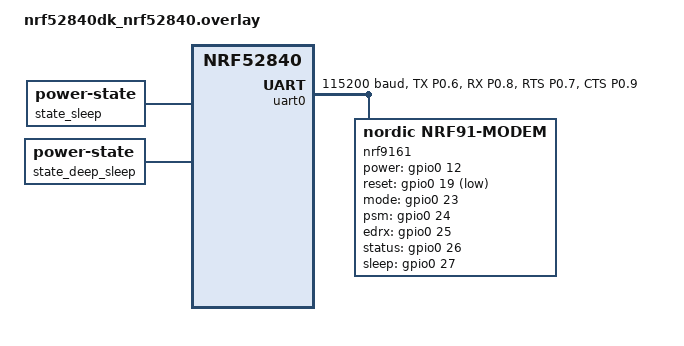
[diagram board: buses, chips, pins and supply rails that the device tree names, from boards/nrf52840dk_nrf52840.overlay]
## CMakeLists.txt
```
# Copyright (c) 2023 Nordic Semiconductor ASA
# SPDX-License-Identifier: Apache-2.0

cmake_minimum_required(VERSION 3.20.0)

# Find Zephyr and nRF Connect SDK
find_package(Zephyr REQUIRED HINTS $ENV{ZEPHYR_BASE})
include(${ZEPHYR_BASE}/cmake/app/boilerplate.cmake NO_POLICY_SCOPE)

# Set project name and version
project(beep_base)

# Add nRF Connect SDK modules
include(${ZEPHYR_BASE}/../nrf/cmake/modules.cmake)

# nRF Libraries
add_subdirectory(${ZEPHYR_BASE}/../nrf/lib/nrf_modem_lib)
add_subdirectory(${ZEPHYR_BASE}/../nrf/lib/at_monitor)
add_subdirectory(${ZEPHYR_BASE}/../nrf/lib/at_cmd_parser)
add_subdirectory(${ZEPHYR_BASE}/../nrf/lib/lte_link_control)
add_subdirectory(${ZEPHYR_BASE}/../nrf/lib/modem_info)
add_subdirectory(${ZEPHYR_BASE}/../nrf/lib/modem_key_mgmt)

# Add custom drivers
add_subdirectory(drivers)

# Application source files
target_sources(app PRIVATE
    src/main.c
    src/audio_app.c
    src/alarm_app.c
    src/ble_app.c
    src/cellular_app.c
    src/comm_mgr.c
    src/debug.c
    src/flash_fs.c
    src/lorawan_app.c
    src/power_mgmt.c
    src/rtc_app.c
)

# Include directories
target_include_directories(app PRIVATE
    src
    drivers/flash
    drivers/rtc
    drivers/sensor/tlv320adc3100
    drivers/sensor/bme280
    drivers/sensor/ds18b20
    drivers/sensor/hx711
    drivers/w1
    ${ZEPHYR_BASE}/../nrf/include
    ${ZEPHYR_BASE}/../nrf/subsys/net/lib/nrf_modem_lib/include
    ${ZEPHYR_BASE}/../nrf/lib/lte_link_control
    ${ZEPHYR_BASE}/../nrf/lib/at_monitor
    ${ZEPHYR_BASE}/../nrf/lib/at_cmd_parser
    ${ZEPHYR_BASE}/../nrf/lib/modem_info
    ${ZEPHYR_BASE}/../nrf/lib/modem_key_mgmt
)

# Link nRF libraries
target_link_libraries(app PRIVATE
    nrf_modem_lib
    at_monitor
    at_cmd_parser
    lte_link_control
    modem_info
    modem_key_mgmt
)

# Generate version information
execute_process(
    COMMAND git describe --tags --long --dirty
    OUTPUT_VARIABLE GIT_VERSION
    OUTPUT_STRIP_TRAILING_WHITESPACE
    ERROR_QUIET
)

if(NOT GIT_VERSION)
    set(GIT_VERSION "unknown")
endif()

target_compile_definitions(app PRIVATE
    -DAPP_VERSION="${GIT_VERSION}"
    -DAPP_BUILD_DATE="${CMAKE_CURRENT_BINARY_DIR}/build_date.h"
    -DCONFIG_NRF_MODEM_LIB=1
    -DCONFIG_LTE_LINK_CONTROL=1
    -DCONFIG_AT_MONITOR=1
    -DCONFIG_MODEM_INFO=1
)

# Generate build date header
string(TIMESTAMP BUILD_DATE "%Y-%m-%d %H:%M:%S")
configure_file(
    ${CMAKE_CURRENT_SOURCE_DIR}/build_date.h.in
    ${CMAKE_CURRENT_BINARY_DIR}/build_date.h
    @ONLY
)

# Add drivers subdirectory CMakeLists.txt
file(WRITE ${CMAKE_CURRENT_SOURCE_DIR}/drivers/CMakeLists.txt
"# Copyright (c) 2023 Nordic Semiconductor ASA
# SPDX-License-Identifier: Apache-2.0

add_subdirectory_ifdef(CONFIG_W1 w1)
add_subdirectory_ifdef(CONFIG_TLV320ADC3100 sensor/tlv320adc3100)
add_subdirectory_ifdef(CONFIG_BME280 sensor/bme280)
add_subdirectory_ifdef(CONFIG_DS18B20 sensor/ds18b20)
add_subdirectory_ifdef(CONFIG_HX711 sensor/hx711)
add_subdirectory_ifdef(CONFIG_DS3231_RTC rtc)
add_subdirectory_ifdef(CONFIG_MX25_FLASH flash)
")

# Create build date template
file(WRITE ${CMAKE_CURRENT_SOURCE_DIR}/build_date.h.in
"#ifndef BUILD_DATE_H
#define BUILD_DATE_H

#define BUILD_DATE \"@BUILD_DATE@\"

#endif /* BUILD_DATE_H */
")

# Set required compile options for nRF libraries
target_compile_options(app PRIVATE
    -DCONFIG_NRF_MODEM_LIB_TRACE=1
    -DCONFIG_NRF_MODEM_LIB_SHMEM_TRACE=1
    -DCONFIG_NRF_MODEM_LIB_DEBUG=1
    -DCONFIG_AT_CMD_LOG_LEVEL=4
    -DCONFIG_AT_NOTIF_LOG_LEVEL=4
)

# Set linker options for nRF libraries
target_link_options(app PRIVATE
    -Wl,--whole-archive
    -l:libnrf_modem_lib.a
    -Wl,--no-whole-archive
)

# Add custom targets for nRF tools
add_custom_target(flash_modem
    COMMAND ${ZEPHYR_BASE}/../nrf/scripts/nrf_modem_flash.sh
    WORKING_DIRECTORY ${CMAKE_CURRENT_BINARY_DIR}
    COMMENT "Flashing modem firmware..."
)

add_custom_target(flash_all
    COMMAND west flash
    COMMAND ${CMAKE_MAKE_PROGRAM} flash_modem
    COMMENT "Flashing application and modem firmware..."
)
```

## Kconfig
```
# Cellular Application Configuration

menuconfig CELLULAR_APP
    bool "Cellular Application Support"
    default y
    select NRF_MODEM_LIB
    select LTE_LINK_CONTROL
    help
        Enable cellular application support with nRF9161 modem

if CELLULAR_APP

config CELLULAR_PSM_ENABLE
    bool "Enable Power Saving Mode (PSM)"
    default y
    help
        Enable PSM for power optimization

config CELLULAR_PSM_TAU_SEC
    int "PSM TAU interval in seconds"
    default 43200
    depends on CELLULAR_PSM_ENABLE
    help
        Tracking Area Update interval for PSM

config CELLULAR_PSM_ACTIVE_SEC
    int "PSM active time in seconds"
    default 60
    depends on CELLULAR_PSM_ENABLE
    help
        Active time before entering PSM

config CELLULAR_EDRX_ENABLE
    bool "Enable Extended DRX (eDRX)"
    default y
    help
        Enable eDRX for power optimization

config CELLULAR_EDRX_CYCLE
    int "eDRX cycle length"
    default 5
    range 0 15
    depends on CELLULAR_EDRX_ENABLE
    help
        eDRX cycle length (0-15, maps to actual timing)

config CELLULAR_RAI_ENABLE
    bool "Enable Release Assistance Indication"
    default y
    help
        Enable RAI for connection optimization

config CELLULAR_WRITE_BUFFER_SIZE
    int "Write buffer size in bytes"
    default 4096
    range 512 16384
    help
        Size of write buffer for flash operations

config CELLULAR_WRITE_BUFFER_TIMEOUT_MS
    int "Write buffer flush timeout in milliseconds"
    default 100
    range 10 1000
    help
        Timeout before flushing write buffer

config CELLULAR_WEAR_LEVELING
    bool "Enable flash wear leveling"
    default y
    help
        Enable wear leveling for flash writes

config CELLULAR_AUTO_CALIBRATION
    bool "Enable automatic sensor calibration"
    default y
    help
        Enable automatic temperature calibration

config CELLULAR_CAL_INTERVAL_HOURS
    int "Calibration interval in hours"
    default 24
    range 1 168
    depends on CELLULAR_AUTO_CALIBRATION
    help
        Interval between automatic calibrations

config CELLULAR_WAKEUP_OPTIMIZATION
    bool "Enable wake-up optimization"
    default y
    help
        Enable optimization of PSM wake-up timing

config CELLULAR_MIN_WAKEUP_LATENCY_MS
    int "Minimum wake-up latency in milliseconds"
    default 100
    range 10 1000
    depends on CELLULAR_WAKEUP_OPTIMIZATION
    help
        Minimum acceptable wake-up latency

config CELLULAR_MAX_WAKEUP_RETRIES
    int "Maximum wake-up optimization retries"
    default 3
    range 1 10
    depends on CELLULAR_WAKEUP_OPTIMIZATION
    help
        Maximum attempts to optimize wake-up timing

config CELLULAR_SYNC_TIMEOUT_MS
    int "Thread synchronization timeout in milliseconds"
    default 1000
    range 100 5000
    help
        Timeout for thread synchronization operations

config CELLULAR_MAX_SYNC_RETRIES
    int "Maximum synchronization retries"
    default 3
    range 1 10
    help
        Maximum attempts for synchronization operations

config CELLULAR_PRIORITY_INHERITANCE
    bool "Enable priority inheritance"
    default y
    help
        Enable priority inheritance for mutexes

config CELLULAR_DEBUG_LOGGING
    bool "Enable debug logging"
    default n
    help
        Enable detailed debug logging

config CELLULAR_STATS_TRACKING
    bool "Enable statistics tracking"
    default y
    help
        Enable tracking of operational statistics

endif # CELLULAR_APP

# Dependencies
source "Kconfig.zephyr"
```

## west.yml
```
manifest:
  version: "0.10"
  
  defaults:
    remote: ncs

  remotes:
    - name: ncs
      url-base: https://github.com/nrfconnect
    - name: zephyrproject
      url-base: https://github.com/zephyrproject-rtos

  projects:
    - name: nrf
      repo-path: sdk-nrf
      remote: ncs
      revision: v2.4.0
      import: true
      path: nrf
      
    - name: zephyr
      repo-path: zephyr
      remote: zephyrproject
      revision: v3.4.0
      import: true
      path: zephyr
      
    - name: mcuboot
      repo-path: mcuboot
      remote: ncs
      revision: v2.4.0
      path: bootloader/mcuboot
      
    - name: nrfxlib
      repo-path: nrfxlib
      remote: ncs
      revision: v2.4.0
      path: nrfxlib
      
    - name: trusted-firmware-m
      repo-path: trusted-firmware-m
      remote: ncs
      revision: v2.4.0
      path: modules/tee/tf-m/trusted-firmware-m

  self:
    path: beep-base-zephyr
    west-commands: scripts/west-commands.yml
    
  group-filter: [-ci-experimental, -optional]

config:
  nrf_modem_lib:
    version: "2.4.0"
    path: nrf/lib/nrf_modem_lib
    
  nrf_security:
    version: "2.4.0"
    path: nrf/subsys/nrf_security
    
  nrf_802154_radio_driver:
    version: "2.4.0"
    path: nrf/drivers/net/nrf_802154_radio_driver
    
  nrf_modem_trace:
    version: "2.4.0"
    path: nrf/lib/nrf_modem_lib/trace
    
  nrf_modem_at:
    version: "2.4.0"
    path: nrf/lib/nrf_modem_lib/at
    
  nrf_modem_gnss:
    version: "2.4.0"
    path: nrf/lib/nrf_modem_lib/gnss
    
  nrf_modem_shmem:
    version: "2.4.0"
    path: nrf/lib/nrf_modem_lib/shmem

  # Additional configurations for modem features
  nrf_modem_lib_trace:
    enabled: true
    level: 4
    medium: uart
    
  nrf_modem_lib_shmem:
    enabled: true
    trace: true
    
  nrf_modem_lib_at:
    enabled: true
    log_level: 4
    
  nrf_modem_lib_gnss:
    enabled: false
    
  # Security configurations
  nrf_security:
    enabled: true
    psa_crypto: true
    mbedtls: true
    
  # Network configurations
  net_config:
    init_timeout: 30
    
  # Debug configurations
  debug:
    thread_analyzer: true
    stack_sentinel: true
    
  # Power management configurations
  pm:
    device: true
    device_runtime: true
    device_runtime_auto: true
    
  # Build configurations
  build:
    use_ccache: true
    thread_analyzer: true
    size_report: true
    
  # Test configurations
  test:
    enable: false
    
  # Documentation configurations
  doc:
    enable: false
```

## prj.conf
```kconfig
# General system configuration
CONFIG_HEAP_MEM_POOL_SIZE=8192
CONFIG_MAIN_STACK_SIZE=2048
CONFIG_SYSTEM_WORKQUEUE_STACK_SIZE=2048

# Logging
CONFIG_LOG=y
CONFIG_LOG_DEFAULT_LEVEL=3
CONFIG_LOG_BACKEND_UART=y
CONFIG_LOG_BUFFER_SIZE=4096

# Cellular Application
CONFIG_CELLULAR_APP=y
CONFIG_CELLULAR_PSM_ENABLE=y
CONFIG_CELLULAR_PSM_TAU_SEC=43200
CONFIG_CELLULAR_PSM_ACTIVE_SEC=60
CONFIG_CELLULAR_EDRX_ENABLE=y
CONFIG_CELLULAR_EDRX_CYCLE=5
CONFIG_CELLULAR_RAI_ENABLE=y

# Enhanced Features
CONFIG_CELLULAR_WRITE_BUFFER_SIZE=4096
CONFIG_CELLULAR_WRITE_BUFFER_TIMEOUT_MS=100
CONFIG_CELLULAR_WEAR_LEVELING=y
CONFIG_CELLULAR_AUTO_CALIBRATION=y
CONFIG_CELLULAR_CAL_INTERVAL_HOURS=24
CONFIG_CELLULAR_WAKEUP_OPTIMIZATION=y
CONFIG_CELLULAR_MIN_WAKEUP_LATENCY_MS=100
CONFIG_CELLULAR_MAX_WAKEUP_RETRIES=3
CONFIG_CELLULAR_SYNC_TIMEOUT_MS=1000
CONFIG_CELLULAR_MAX_SYNC_RETRIES=3
CONFIG_CELLULAR_PRIORITY_INHERITANCE=y
CONFIG_CELLULAR_STATS_TRACKING=y

# nRF Modem Library
CONFIG_NRF_MODEM_LIB=y
CONFIG_NRF_MODEM_LIB_SYS_INIT=y
CONFIG_LTE_LINK_CONTROL=y
CONFIG_LTE_AUTO_INIT_AND_CONNECT=n
CONFIG_LTE_NETWORK_MODE_LTE_M=y
CONFIG_LTE_LEGACY_PCO_MODE=y

# Network Configuration
CONFIG_NETWORKING=y
CONFIG_NET_SOCKETS=y
CONFIG_NET_SOCKETS_OFFLOAD=y
CONFIG_NET_NATIVE=n
CONFIG_NET_SOCKETS_POSIX_NAMES=y

# Memory Management
CONFIG_HEAP_MEM_POOL_SIZE=16384
CONFIG_MAIN_STACK_SIZE=4096
CONFIG_SYSTEM_WORKQUEUE_STACK_SIZE=2048

# Flash and Storage
CONFIG_FLASH=y
CONFIG_FLASH_MAP=y
CONFIG_FLASH_PAGE_LAYOUT=y
CONFIG_NVS=y
CONFIG_SETTINGS=y
CONFIG_FILE_SYSTEM=y
CONFIG_FILE_SYSTEM_LITTLEFS=y

# Power Management
CONFIG_PM=y
CONFIG_PM_DEVICE=y
CONFIG_PM_DEVICE_RUNTIME=y
CONFIG_PM_DEVICE_RUNTIME_AUTO=y

# Debug Features
CONFIG_DEBUG=y
CONFIG_THREAD_ANALYZER=y
CONFIG_THREAD_NAME=y
CONFIG_THREAD_STACK_INFO=y
CONFIG_THREAD_RUNTIME_STATS=y

# Shell for Debugging
CONFIG_SHELL=y
CONFIG_SHELL_BACKEND_UART=y
CONFIG_SHELL_HISTORY=y
CONFIG_SHELL_VT100_COLORS=y

# UART Configuration
CONFIG_UART_ASYNC_API=y
CONFIG_UART_0_NRF_HW_FLOW_CONTROL=y
CONFIG_UART_0_NRF_HW_ASYNC=y

# GPIO
CONFIG_GPIO=y

# I2C for Sensors
CONFIG_I2C=y
CONFIG_I2C_NRFX=y

# Watchdog
CONFIG_WATCHDOG=y

# Build Options
CONFIG_SIZE_OPTIMIZATIONS=y
CONFIG_SPEED_OPTIMIZATIONS=y
CONFIG_COMPILER_OPT="-Os"

# Security
CONFIG_MBEDTLS=y
CONFIG_MBEDTLS_ENABLE_HEAP=y
CONFIG_MBEDTLS_HEAP_SIZE=10240
CONFIG_MBEDTLS_SSL_MAX_CONTENT_LEN=1024

# Modem Debug
CONFIG_MODEM_INFO=y
CONFIG_MODEM_INFO_ADD_NETWORK=y
CONFIG_MODEM_INFO_ADD_DATE_TIME=y
CONFIG_MODEM_INFO_ADD_SIGNAL=y
CONFIG_MODEM_INFO_ADD_TEMPERATURE=y
CONFIG_MODEM_INFO_ADD_BAND=y
CONFIG_MODEM_INFO_ADD_SLEEP_STATS=y

# Thread Priority Configuration
CONFIG_NUM_PREEMPT_PRIORITIES=16
CONFIG_THREAD_CUSTOM_DATA=y
CONFIG_THREAD_MONITOR=y

# System
CONFIG_REBOOT=y
CONFIG_RESET_ON_FATAL_ERROR=n
CONFIG_HW_STACK_PROTECTION=y

# Debug Build Options
CONFIG_DEBUG_OPTIMIZATIONS=y
CONFIG_DEBUG_THREAD_INFO=y
CONFIG_EXCEPTION_STACK_TRACE=y
```

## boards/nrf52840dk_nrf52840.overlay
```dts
/* Previous content remains, update UART and power configuration for nRF9161 */

/* UART configuration for nRF9161 modem with power optimization */
&uart0 {
    status = "okay";
    current-speed = <115200>;
    flow-control;
    pinctrl-0 = <&uart0_default>;
    pinctrl-1 = <&uart0_sleep>;
    pinctrl-names = "default", "sleep";
    hw-flow-control;

    nrf9161 {
        compatible = "nordic,nrf91-modem";
        status = "okay";
        
        /* Power control pins */
        power-gpios = <&gpio0 12 GPIO_ACTIVE_HIGH>;  /* Modem power control */
        reset-gpios = <&gpio0 19 GPIO_ACTIVE_LOW>;   /* Modem reset */
        
        /* Network mode pins */
        mode-gpios = <&gpio0 23 GPIO_ACTIVE_HIGH>;   /* Network mode selection */
        
        /* Power saving control pins */
        psm-gpios = <&gpio0 24 GPIO_ACTIVE_HIGH>;    /* PSM control */
        edrx-gpios = <&gpio0 25 GPIO_ACTIVE_HIGH>;   /* eDRX control */
        
        /* Status indication pins */
        status-gpios = <&gpio0 26 GPIO_ACTIVE_HIGH>; /* Network status */
        sleep-gpios = <&gpio0 27 GPIO_ACTIVE_HIGH>;  /* Sleep indication */
    };
};

/* Pin configuration for optimal power saving */
&pinctrl {
    uart0_default: uart0_default {
        group1 {
            psels = <NRF_PSEL(UART_TX, 0, 6)>,
                    <NRF_PSEL(UART_RX, 0, 8)>,
                    <NRF_PSEL(UART_RTS, 0, 7)>,
                    <NRF_PSEL(UART_CTS, 0, 9)>;
            bias-pull-up;
            drive-mode = "s0s1";  /* High drive strength for reliable communication */
        };
    };

    uart0_sleep: uart0_sleep {
        group1 {
            psels = <NRF_PSEL(UART_TX, 0, 6)>,
                    <NRF_PSEL(UART_RX, 0, 8)>,
                    <NRF_PSEL(UART_RTS, 0, 7)>,
                    <NRF_PSEL(UART_CTS, 0, 9)>;
            low-power-enable;     /* Enable low power mode in sleep */
            bias-pull-up;         /* Maintain signal integrity in sleep */
        };
    };
};

/* Power management configuration */
&cpu0 {
    cpu-power-states = <&state_sleep &state_deep_sleep>;
};

/* Power states definition */
power-states {
    state_sleep: state_sleep {
        compatible = "zephyr,power-state";
        power-state-name = "sleep";
        min-residency-us = <1000>;
        exit-latency-us = <100>;
    };

    state_deep_sleep: state_deep_sleep {
        compatible = "zephyr,power-state";
        power-state-name = "deep-sleep";
        min-residency-us = <10000>;
        exit-latency-us = <1000>;
    };
};

/* Rest of the file remains the same */
```

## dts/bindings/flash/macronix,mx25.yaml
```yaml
# Copyright (c) 2023 Nordic Semiconductor ASA
# SPDX-License-Identifier: Apache-2.0

description: Macronix MX25 SPI flash memory

compatible: "macronix,mx25"

include: [spi-device.yaml, base.yaml]

properties:
  size:
    type: int
    required: true
    description: Flash memory size in bytes

  sector-size:
    type: int
    required: true
    default: 4096
    description: Size of flash sectors in bytes

  block-size:
    type: int
    required: true
    default: 65536
    description: Size of flash blocks in bytes

  page-size:
    type: int
    required: true
    default: 256
    description: Size of flash pages in bytes

  reset-gpios:
    type: phandle-array
    required: false
    description: |
      GPIO connected to the RESET pin.
      If specified, this pin will be configured as active low.

  wp-gpios:
    type: phandle-array
    required: false
    description: |
      GPIO connected to the Write Protect pin.
      If specified, this pin will be configured as active low.

  hold-gpios:
    type: phandle-array
    required: false
    description: |
      GPIO connected to the Hold pin.
      If specified, this pin will be configured as active low.

  quad-enable:
    type: boolean
    required: false
    description: |
      Enable quad SPI mode if supported by the flash chip.
      When enabled, the driver will configure the status register
      to enable quad mode operations.
```

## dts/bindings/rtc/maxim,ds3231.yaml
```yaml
# Copyright (c) 2023 Nordic Semiconductor ASA
# SPDX-License-Identifier: Apache-2.0

description: Maxim DS3231 Real-Time Clock

compatible: "maxim,ds3231"

include: [i2c-device.yaml, base.yaml]

properties:
  reg:
    required: true
    description: I2C device address

  int-gpios:
    type: phandle-array
    required: false
    description: |
      GPIO connected to the INT/SQW pin.
      This pin is active low and is used for alarm interrupts
      and/or square wave output.

  square-wave-enable:
    type: boolean
    required: false
    description: |
      Enable square wave output on INT/SQW pin.
      When enabled, the pin will output a square wave at
      the frequency specified by square-wave-freq.
      Cannot be used simultaneously with alarms.

  square-wave-freq:
    type: int
    required: false
    default: 1
    enum:
      - 1  # 1 Hz
      - 1024  # 1.024 kHz
      - 4096  # 4.096 kHz
      - 8192  # 8.192 kHz
    description: |
      Square wave output frequency in Hz.
      Only used when square-wave-enable is true.

  battery-backup:
    type: boolean
    required: false
    default: true
    description: |
      Enable battery backup mode.
      When enabled, the RTC will continue to run on battery
      power when main power is lost.

  aging-offset:
    type: int
    required: false
    default: 0
    description: |
      Aging offset value (-128 to +127).
      Can be used to compensate for crystal aging.
      Positive values add capacitance to the array,
      slowing the oscillator frequency.
```

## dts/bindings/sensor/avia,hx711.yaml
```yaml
# Copyright (c) 2023 Nordic Semiconductor ASA
# SPDX-License-Identifier: Apache-2.0

description: HX711 24-bit ADC for weight scales

compatible: "avia,hx711"

include: [sensor-device.yaml, base.yaml]

properties:
  sck-gpios:
    type: phandle-array
    required: true
    description: Serial clock GPIO pin

  dout-gpios:
    type: phandle-array
    required: true
    description: Data output GPIO pin

  gain:
    type: int
    required: false
    default: 1
    enum:
      - 1  # Channel A, gain 128
      - 2  # Channel B, gain 32
      - 3  # Channel A, gain 64
    description: |
      Default gain and channel setting
      1: Channel A with gain of 128
      2: Channel B with gain of 32
      3: Channel A with gain of 64

  samples:
    type: int
    required: false
    default: 1
    description: |
      Number of samples to average for each reading.
      Higher values provide more stable readings but
      slower response time.

  offset:
    type: int
    required: false
    default: 0
    description: |
      Initial tare offset value.
      This value is subtracted from raw readings.

  scale:
    type: int
    required: false
    default: 65536  # 1.0 in Q16.16 format
    description: |
      Initial scale factor in Q16.16 fixed-point format.
      Raw readings are multiplied by this value after
      offset subtraction. Default is 1.0 (65536 in Q16.16).
```

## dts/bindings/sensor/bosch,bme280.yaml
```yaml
# Copyright (c) 2023 Nordic Semiconductor ASA
# SPDX-License-Identifier: Apache-2.0

description: Bosch BME280 temperature, humidity, and pressure sensor

compatible: "bosch,bme280"

include: [i2c-device.yaml, base.yaml]

properties:
  temperature-oversampling:
    type: int
    required: false
    default: 5
    enum:
      - 1 # x1
      - 2 # x2
      - 3 # x4
      - 4 # x8
      - 5 # x16
    description: |
      Temperature oversampling setting
      1: x1
      2: x2
      3: x4
      4: x8
      5: x16

  pressure-oversampling:
    type: int
    required: false
    default: 5
    enum:
      - 1 # x1
      - 2 # x2
      - 3 # x4
      - 4 # x8
      - 5 # x16
    description: |
      Pressure oversampling setting
      1: x1
      2: x2
      3: x4
      4: x8
      5: x16

  humidity-oversampling:
    type: int
    required: false
    default: 5
    enum:
      - 1 # x1
      - 2 # x2
      - 3 # x4
      - 4 # x8
      - 5 # x16
    description: |
      Humidity oversampling setting
      1: x1
      2: x2
      3: x4
      4: x8
      5: x16

  standby-time:
    type: int
    required: false
    default: 5
    enum:
      - 0 # 0.5ms
      - 1 # 62.5ms
      - 2 # 125ms
      - 3 # 250ms
      - 4 # 500ms
      - 5 # 1000ms
      - 6 # 10ms
      - 7 # 20ms
    description: |
      Standby time between measurements in normal mode
      0: 0.5ms
      1: 62.5ms
      2: 125ms
      3: 250ms
      4: 500ms
      5: 1000ms
      6: 10ms
      7: 20ms

  filter:
    type: int
    required: false
    default: 2
    enum:
      - 0 # off
      - 1 # 2x
      - 2 # 4x
      - 3 # 8x
      - 4 # 16x
    description: |
      IIR filter coefficient
      0: filter off
      1: 2
      2: 4
      3: 8
      4: 16

  mode:
    type: int
    required: false
    default: 3
    enum:
      - 0 # sleep
      - 1 # forced
      - 3 # normal
    description: |
      Sensor power mode
      0: sleep mode
      1: forced mode
      3: normal mode
```

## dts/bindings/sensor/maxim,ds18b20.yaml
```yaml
# Copyright (c) 2023 Nordic Semiconductor ASA
# SPDX-License-Identifier: Apache-2.0

description: Maxim DS18B20 1-Wire temperature sensor

compatible: "maxim,ds18b20"

include: [sensor-device.yaml, w1-device.yaml]

properties:
  resolution:
    type: int
    required: false
    default: 12
    enum:
      - 9
      - 10
      - 11
      - 12
    description: |
      Temperature resolution in bits.
      9-bit:  0.5°C resolution, 93.75ms conversion time
      10-bit: 0.25°C resolution, 187.5ms conversion time
      11-bit: 0.125°C resolution, 375ms conversion time
      12-bit: 0.0625°C resolution, 750ms conversion time

  serial-number:
    type: uint8-array
    required: true
    size: 6
    description: |
      Unique 48-bit serial number of the device.
      This can be found printed on the device or
      discovered through a ROM search on the 1-Wire bus.
```

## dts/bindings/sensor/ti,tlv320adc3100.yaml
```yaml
# Copyright (c) 2023 Nordic Semiconductor ASA
# SPDX-License-Identifier: Apache-2.0

description: Texas Instruments TLV320ADC3100 Audio ADC

compatible: "ti,tlv320adc3100"

include: [i2c-device.yaml, base.yaml]

properties:
  reset-gpios:
    type: phandle-array
    required: false
    description: |
      GPIO connected to the chip's RESET pin. This pin is active-low.

  mclk-freq:
    type: int
    required: true
    default: 32000000
    description: |
      Master clock frequency in Hz. This should match the frequency provided
      to the MCLK pin of the device.

  channel-default:
    type: int
    required: false
    default: 2
    enum:
      - 0  # IN3L
      - 1  # IN2L
      - 2  # IN2R (default)
    description: |
      Default input channel selection.
      0: IN3L (Left channel of input 3)
      1: IN2L (Left channel of input 2)
      2: IN2R (Right channel of input 2)

  volume-default:
    type: int
    required: false
    default: 0
    description: |
      Default volume setting (-127 to 48 dB).

  gain-default:
    type: int
    required: false
    default: 0
    description: |
      Default gain setting (0-7).

  min6db-default:
    type: boolean
    required: false
    default: false
    description: |
      Enable -6dB mode by default.
```

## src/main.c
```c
/* Previous includes remain */
#include "comm_mgr.h"

/* Previous thread and configuration definitions remain */

/* Add communication configuration */
static const COMM_CONFIG_s comm_config = {
    .method = COMM_METHOD_AUTO,
    .auto_fallback = true,
    .retry_count = 3,
    .retry_interval = 60
};

/* Previous thread implementations remain */

/* Update data thread to use communication manager */
static void data_thread(void *p1, void *p2, void *p3)
{
    MEASUREMENT_RESULT_s result;
    COMM_STATUS_s comm_status;
    int ret;

    while (1) {
        /* Wait for measurement data */
        if (k_msgq_get(&measurement_msgq, &result, K_FOREVER) == 0) {
            /* Try to send measurement */
            ret = comm_mgr_send_measurement(&result);
            if (ret < 0 && ret != -EAGAIN) {
                LOG_ERR("Failed to send measurement: %d", ret);
            }

            /* Get communication status for debugging */
            if (comm_mgr_get_status(&comm_status) == 0) {
                DEBUG_DBG(DEBUG_CAT_COMM, "Active method: %d, LoRa: %d/%ddBm, Cell: %d/%ddBm",
                         comm_status.active_method,
                         comm_status.lorawan_available,
                         comm_status.lorawan_rssi,
                         comm_status.cellular_available,
                         comm_status.cellular_rssi);
            }
        }
    }
}

/* Update BLE command handling */
static void ble_config(const uint8_t *data, uint16_t len)
{
    if (len < 2) {
        return;
    }

    BEEP_CID cmd = data[0];
    switch (cmd) {
        /* Previous cases remain */

        case READ_CELLULAR_CONFIG:
            {
                cellular_config_t cell_cfg;
                if (cellular_app_get_config(&cell_cfg) == 0 && callbacks && callbacks->measurement) {
                    callbacks->measurement((const MEASUREMENT_RESULT_s *)&cell_cfg);
                }
            }
            break;

        case WRITE_CELLULAR_CONFIG:
            if (len >= sizeof(cellular_config_t)) {
                cellular_config_t cell_cfg;
                memcpy(&cell_cfg, &data[1], sizeof(cell_cfg));
                cellular_app_config(&cell_cfg);
                flash_fs_store_config("cell_cfg", &cell_cfg, sizeof(cell_cfg));
            }
            break;

        case READ_CELLULAR_STATUS:
            {
                COMM_STATUS_s status;
                if (comm_mgr_get_status(&status) == 0 && callbacks && callbacks->measurement) {
                    callbacks->measurement((const MEASUREMENT_RESULT_s *)&status);
                }
            }
            break;

        case READ_CELLULAR_SIGNAL:
            {
                int8_t rssi;
                if (comm_mgr_get_signal_strength(COMM_METHOD_CELLULAR, &rssi) == 0 && 
                    callbacks && callbacks->measurement) {
                    callbacks->measurement((const MEASUREMENT_RESULT_s *)&rssi);
                }
            }
            break;

        case READ_COMM_METHOD:
            {
                COMM_CONFIG_s cfg;
                if (comm_mgr_get_config(&cfg) == 0 && callbacks && callbacks->measurement) {
                    callbacks->measurement((const MEASUREMENT_RESULT_s *)&cfg);
                }
            }
            break;

        case WRITE_COMM_METHOD:
            if (len >= sizeof(COMM_CONFIG_s)) {
                COMM_CONFIG_s cfg;
                memcpy(&cfg, &data[1], sizeof(cfg));
                comm_mgr_configure(&cfg);
                flash_fs_store_config("comm_cfg", &cfg, sizeof(cfg));
            }
            break;

        default:
            break;
    }
}

/* Update power management */
static void prepare_for_sleep(void)
{
    /* Power down communication interfaces */
    comm_mgr_power_down();
    
    /* Previous power down steps remain */
}

static void wake_from_sleep(void)
{
    /* Previous wake-up steps remain */
    
    /* Power up communication interfaces */
    comm_mgr_power_up();
}

int main(void)
{
    int ret;

    LOG_INF("BEEP Base Firmware v%d.%d.%d", 
            FIRMWARE_MAJOR, FIRMWARE_MINOR, FIRMWARE_SUB);

    /* Initialize debug first */
    DEBUG_INIT();

    /* Initialize power management */
    ret = power_mgmt_init();
    if (ret < 0) {
        LOG_ERR("Failed to initialize power management: %d", ret);
        return ret;
    }

    /* Initialize flash filesystem */
    ret = flash_fs_init();
    if (ret < 0) {
        LOG_ERR("Failed to initialize flash filesystem: %d", ret);
        return ret;
    }

    /* Initialize communication manager */
    ret = comm_mgr_init(&comm_config);
    if (ret < 0) {
        LOG_ERR("Failed to initialize communication manager: %d", ret);
        return ret;
    }

    /* Initialize RTC */
    ret = rtc_app_init(rtc_alarm_handler, rtc_time_handler);
    if (ret < 0) {
        LOG_ERR("Failed to initialize RTC: %d", ret);
        return ret;
    }

    /* Initialize alarm system */
    ret = alarm_app_init(alarm_handler);
    if (ret < 0) {
        LOG_ERR("Failed to initialize alarm system: %d", ret);
        return ret;
    }

    /* Initialize BLE */
    ret = ble_app_init(&ble_cb);
    if (ret < 0) {
        LOG_ERR("Failed to initialize BLE: %d", ret);
        return ret;
    }

    /* Start BLE advertising */
    ret = ble_app_start_adv();
    if (ret < 0) {
        LOG_ERR("Failed to start BLE advertising: %d", ret);
        return ret;
    }

    /* Initialize audio subsystem */
    audio_app_init(measurement_handler);

    /* Get device references */
    bme280_dev = DEVICE_DT_GET_ANY(bosch_bme280);
    if (!device_is_ready(bme280_dev)) {
        LOG_WRN("BME280 device not found");
        bme280_dev = NULL;
    }

    /* Find all DS18B20 sensors */
    num_temp_sensors = 0;
    for (int i = 0; i < MAX_TEMP_SENSORS; i++) {
        char name[16];
        snprintf(name, sizeof(name), "DS18B20_%d", i);
        ds18b20_dev[i] = device_get_binding(name);
        if (ds18b20_dev[i] != NULL && device_is_ready(ds18b20_dev[i])) {
            num_temp_sensors++;
        } else {
            break;
        }
    }
    LOG_INF("Found %d DS18B20 sensors", num_temp_sensors);

    /* Get HX711 device */
    hx711_dev = DEVICE_DT_GET_ANY(avia_hx711);
    if (!device_is_ready(hx711_dev)) {
        LOG_WRN("HX711 device not found");
        hx711_dev = NULL;
    }

    /* Create threads */
    k_thread_create(&sensor_thread_data, sensor_stack,
                   K_THREAD_STACK_SIZEOF(sensor_stack),
                   sensor_thread, NULL, NULL, NULL,
                   SENSOR_PRIORITY, 0, K_NO_WAIT);
    k_thread_name_set(&sensor_thread_data, "sensors");

    k_thread_create(&audio_thread_data, audio_stack,
                   K_THREAD_STACK_SIZEOF(audio_stack),
                   audio_thread, NULL, NULL, NULL,
                   AUDIO_PRIORITY, 0, K_NO_WAIT);
    k_thread_name_set(&audio_thread_data, "audio");

    k_thread_create(&data_thread_data, data_stack,
                   K_THREAD_STACK_SIZEOF(data_stack),
                   data_thread, NULL, NULL, NULL,
                   DATA_PRIORITY, 0, K_NO_WAIT);
    k_thread_name_set(&data_thread_data, "data");

    k_thread_create(&storage_thread_data, storage_stack,
                   K_THREAD_STACK_SIZEOF(storage_stack),
                   storage_thread, NULL, NULL, NULL,
                   STORAGE_PRIORITY, 0, K_NO_WAIT);
    k_thread_name_set(&storage_thread_data, "storage");

    /* Enable systems */
    alarm_app_enable(true);
    power_mgmt_auto_sleep(true);

    /* Set up daily measurement schedule */
    struct tm current_time;
    rtc_app_get_time(&current_time);
    current_time.tm_hour = measurement_schedule.hour;
    current_time.tm_min = measurement_schedule.minute;
    current_time.tm_sec = 0;
    rtc_app_set_alarm(2, &current_time);
    rtc_app_enable_alarm(2, true);

    /* Notify activity to start sleep timer */
    power_mgmt_notify_activity();

    return 0;
}
```

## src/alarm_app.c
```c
/*
 * Copyright (c) 2023 Nordic Semiconductor ASA
 * SPDX-License-Identifier: Apache-2.0
 */

#include <zephyr/kernel.h>
#include <zephyr/logging/log.h>
#include "alarm_app.h"
#include "flash_fs.h"

LOG_MODULE_REGISTER(alarm_app, CONFIG_APP_LOG_LEVEL);

/* Alarm state */
static struct {
    bool enabled;
    alarm_callback_t callback;
    ALARM_CONFIG_s config;
    uint32_t active_alarms;
} alarm_state;

/* Mutex for alarm state access */
K_MUTEX_DEFINE(alarm_mutex);

/* Internal functions */
static bool check_ds18b20_alarm(const DS18B20_RESULTS_s *result, const DS_ALARM_s *config)
{
    for (int i = 0; i < result->devices; i++) {
        if (result->temperatures[i] > config->Max ||
            result->temperatures[i] < config->Min ||
            (config->Diff > 0 && 
             abs(result->temperatures[i] - result->temperatures[(i + 1) % result->devices]) > config->Diff)) {
            return true;
        }
    }
    return false;
}

static bool check_bme280_alarm(const BME280_RESULT_s *result, const BME_ALARM_s *config)
{
    /* Temperature check */
    if (result->temperature > config->Temp_Max ||
        result->temperature < config->Temp_Min ||
        (config->Temp_Diff > 0 && abs(result->temperature) > config->Temp_Diff)) {
        return true;
    }

    /* Humidity check */
    if (result->humidity > config->humidity_Max ||
        result->humidity < config->humidity_Min ||
        (config->humidity_Diff > 0 && abs(result->humidity) > config->humidity_Diff)) {
        return true;
    }

    /* Pressure check */
    if (result->airPressure > config->press_Max ||
        result->airPressure < config->press_Min ||
        (config->press_Diff > 0 && abs(result->airPressure) > config->press_Diff)) {
        return true;
    }

    return false;
}

static bool check_hx711_alarm(const HX711_CONV_s *result, const HX711_ALARM_s *config)
{
    for (int i = 0; i < HX711_N_CHANNELS; i++) {
        if (result->value[i] > config->Max ||
            result->value[i] < config->Min ||
            (config->Diff > 0 && abs(result->value[i]) > config->Diff)) {
            return true;
        }
    }
    return false;
}

/* API Implementation */
int alarm_app_init(alarm_callback_t callback)
{
    k_mutex_lock(&alarm_mutex, K_FOREVER);
    
    alarm_state.enabled = false;
    alarm_state.callback = callback;
    alarm_state.active_alarms = 0;
    memset(&alarm_state.config, 0, sizeof(ALARM_CONFIG_s));

    /* Try to load alarm configuration from flash */
    if (flash_fs_read_config(&alarm_state.config, sizeof(ALARM_CONFIG_s)) < 0) {
        LOG_WRN("No stored alarm configuration found");
    }

    k_mutex_unlock(&alarm_mutex);
    return 0;
}

int alarm_app_config(const ALARM_CONFIG_s *config)
{
    if (!config) {
        return -EINVAL;
    }

    k_mutex_lock(&alarm_mutex, K_FOREVER);
    
    /* Store new configuration */
    memcpy(&alarm_state.config, config, sizeof(ALARM_CONFIG_s));
    
    /* Save to flash */
    int ret = flash_fs_store_config(config, sizeof(ALARM_CONFIG_s));
    if (ret < 0) {
        LOG_ERR("Failed to store alarm configuration: %d", ret);
    }

    /* Clear active alarms on reconfiguration */
    alarm_state.active_alarms = 0;

    k_mutex_unlock(&alarm_mutex);
    return ret;
}

int alarm_app_get_config(ALARM_CONFIG_s *config)
{
    if (!config) {
        return -EINVAL;
    }

    k_mutex_lock(&alarm_mutex, K_FOREVER);
    memcpy(config, &alarm_state.config, sizeof(ALARM_CONFIG_s));
    k_mutex_unlock(&alarm_mutex);
    
    return 0;
}

int alarm_app_process(const MEASUREMENT_RESULT_s *result)
{
    if (!result || !alarm_state.enabled) {
        return -EINVAL;
    }

    k_mutex_lock(&alarm_mutex, K_FOREVER);

    bool alarm_triggered = false;
    alarm_type_t alarm_type;

    /* Check alarms based on measurement type */
    switch (result->type) {
        case DS18B20:
            if (alarm_state.config.type == DS18B20 &&
                check_ds18b20_alarm(&result->result.ds18B20, &alarm_state.config.thr.ds)) {
                alarm_triggered = true;
                alarm_type = ALARM_TEMP;
            }
            break;

        case BME280:
            if (alarm_state.config.type == BME280 &&
                check_bme280_alarm(&result->result.bme280, &alarm_state.config.thr.bme)) {
                alarm_triggered = true;
                alarm_type = ALARM_HUMIDITY;
            }
            break;

        case HX711:
            if (alarm_state.config.type == HX711 &&
                check_hx711_alarm(&result->result.hx711, &alarm_state.config.thr.hx)) {
                alarm_triggered = true;
                alarm_type = ALARM_WEIGHT;
            }
            break;

        default:
            break;
    }

    /* Handle alarm if triggered */
    if (alarm_triggered && alarm_state.callback) {
        alarm_state.callback(alarm_type, result);
        alarm_state.active_alarms |= BIT(alarm_type);
    }

    k_mutex_unlock(&alarm_mutex);
    return 0;
}

int alarm_app_enable(bool enable)
{
    k_mutex_lock(&alarm_mutex, K_FOREVER);
    alarm_state.enabled = enable;
    k_mutex_unlock(&alarm_mutex);
    return 0;
}

bool alarm_app_is_enabled(void)
{
    bool enabled;
    k_mutex_lock(&alarm_mutex, K_FOREVER);
    enabled = alarm_state.enabled;
    k_mutex_unlock(&alarm_mutex);
    return enabled;
}

int alarm_app_clear(void)
{
    k_mutex_lock(&alarm_mutex, K_FOREVER);
    alarm_state.active_alarms = 0;
    k_mutex_unlock(&alarm_mutex);
    return 0;
}
```

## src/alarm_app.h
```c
/*
 * Copyright (c) 2023 Nordic Semiconductor ASA
 * SPDX-License-Identifier: Apache-2.0
 */

#ifndef ALARM_APP_H
#define ALARM_APP_H

#include <zephyr/kernel.h>
#include "beep_types.h"

/* Alarm types */
typedef enum {
    ALARM_TEMP,       /* Temperature alarm */
    ALARM_HUMIDITY,   /* Humidity alarm */
    ALARM_PRESSURE,   /* Air pressure alarm */
    ALARM_WEIGHT,     /* Weight alarm */
    ALARM_BATTERY,    /* Battery level alarm */
    ALARM_TILT,       /* Tilt alarm */
    ALARM_AUDIO,      /* Audio level alarm */
} alarm_type_t;

/* Alarm callback */
typedef void (*alarm_callback_t)(alarm_type_t type, const MEASUREMENT_RESULT_s *result);

/**
 * @brief Initialize alarm system
 *
 * @param callback Alarm callback function
 * @return 0 on success, negative errno code on failure
 */
int alarm_app_init(alarm_callback_t callback);

/**
 * @brief Configure alarm thresholds
 *
 * @param config Alarm configuration
 * @return 0 on success, negative errno code on failure
 */
int alarm_app_config(const ALARM_CONFIG_s *config);

/**
 * @brief Get current alarm configuration
 *
 * @param config Pointer to store alarm configuration
 * @return 0 on success, negative errno code on failure
 */
int alarm_app_get_config(ALARM_CONFIG_s *config);

/**
 * @brief Process measurement for alarms
 *
 * @param result Measurement result to check
 * @return 0 on success, negative errno code on failure
 */
int alarm_app_process(const MEASUREMENT_RESULT_s *result);

/**
 * @brief Enable or disable alarm system
 *
 * @param enable true to enable, false to disable
 * @return 0 on success, negative errno code on failure
 */
int alarm_app_enable(bool enable);

/**
 * @brief Check if alarm system is enabled
 *
 * @return true if enabled, false if disabled
 */
bool alarm_app_is_enabled(void);

/**
 * @brief Clear all active alarms
 *
 * @return 0 on success, negative errno code on failure
 */
int alarm_app_clear(void);

#endif /* ALARM_APP_H */
```

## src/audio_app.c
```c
/*
 * Copyright (c) 2023 Nordic Semiconductor ASA
 * SPDX-License-Identifier: Apache-2.0
 */

#include <zephyr/kernel.h>
#include <zephyr/device.h>
#include <zephyr/drivers/i2s.h>
#include <arm_math.h>
#include <zephyr/logging/log.h>
#include "audio_app.h"
#include "rtc_app.h"

LOG_MODULE_REGISTER(audio_app, CONFIG_APP_LOG_LEVEL);

/* Audio buffers */
static int16_t audio_buffer[AUDIO_FRAME_SIZE];
static float32_t fft_buffer[AUDIO_FFT_SIZE * 2];
static float32_t window_buffer[AUDIO_FFT_SIZE];
static arm_cfft_instance_f32 fft_instance;

/* FFT band configuration */
static const fft_band_config_t fft_bands[FFT_BAND_COUNT] = {
    {100, 200},    /* 100-200 Hz */
    {200, 300},    /* 200-300 Hz */
    {300, 400},    /* 300-400 Hz */
    {400, 500},    /* 400-500 Hz */
    {500, 600},    /* 500-600 Hz */
    {600, 700},    /* 600-700 Hz */
    {700, 800},    /* 700-800 Hz */
    {800, 900},    /* 800-900 Hz */
    {900, 1000},   /* 900-1000 Hz */
    {1000, 1200},  /* 1000-1200 Hz */
    {1200, 1400},  /* 1200-1400 Hz */
    {1400, 1600},  /* 1400-1600 Hz */
    {1600, 1800},  /* 1600-1800 Hz */
    {1800, 2000},  /* 1800-2000 Hz */
    {2000, 2500},  /* 2000-2500 Hz */
    {2500, 3000}   /* 2500-3000 Hz */
};

/* Audio state */
static struct {
    const struct device *i2s_dev;
    measurement_callback_t callback;
    audio_config_t config;
    bool busy;
    uint32_t samples_collected;
    struct k_work_delayable stop_work;
} audio_state;

/* Work queue for audio processing */
K_THREAD_STACK_DEFINE(audio_stack, 4096);
static struct k_work_q audio_work_q;
static struct k_work process_work;

/* Helper functions */
static void apply_window(float32_t *data, size_t size)
{
    /* Apply Hanning window */
    for (size_t i = 0; i < size; i++) {
        data[i] *= window_buffer[i];
    }
}

static void calculate_band_magnitudes(const float32_t *fft_data, uint16_t *band_magnitudes)
{
    float32_t magnitude;
    uint16_t bin_freq;
    
    /* Calculate magnitude for each frequency band */
    for (int band = 0; band < FFT_BAND_COUNT; band++) {
        float32_t band_sum = 0;
        int bin_count = 0;

        /* Sum magnitudes for bins in this band */
        for (int bin = 1; bin < AUDIO_FFT_SIZE/2; bin++) {
            bin_freq = (bin * AUDIO_SAMPLE_RATE) / AUDIO_FFT_SIZE;
            
            if (bin_freq >= fft_bands[band].start_freq && 
                bin_freq <= fft_bands[band].end_freq) {
                /* Calculate magnitude from real and imaginary parts */
                magnitude = sqrtf(fft_data[2*bin] * fft_data[2*bin] + 
                                fft_data[2*bin+1] * fft_data[2*bin+1]);
                band_sum += magnitude;
                bin_count++;
            }
        }

        /* Store average magnitude for this band */
        if (bin_count > 0) {
            band_magnitudes[band] = (uint16_t)(band_sum / bin_count);
        } else {
            band_magnitudes[band] = 0;
        }
    }
}

static void process_audio_data(void)
{
    fft_result_t fft_result;
    struct tm time;

    /* Convert samples to float and apply window */
    for (int i = 0; i < AUDIO_FFT_SIZE; i++) {
        fft_buffer[2*i] = (float32_t)audio_buffer[i] / 32768.0f;
        fft_buffer[2*i+1] = 0.0f;
    }
    apply_window(fft_buffer, AUDIO_FFT_SIZE);

    /* Perform FFT */
    arm_cfft_f32(&fft_instance, fft_buffer, 0, 1);

    /* Get current time for timestamp */
    rtc_app_get_time(&time);
    fft_result.timestamp = rtc_app_tm_to_timestamp(&time);
    
    /* Set configuration byte */
    fft_result.config = (audio_state.config.gain & 0xF0) | 
                       ((audio_state.config.agc_enabled & 0x01) << 3) |
                       (AUDIO_FFT_SIZE >> 10); /* Log2 of FFT size / 1024 */

    /* Calculate band magnitudes */
    calculate_band_magnitudes(fft_buffer, fft_result.bands);

    /* Prepare LoRaWAN payload */
    uint8_t payload[LORAWAN_MAX_PAYLOAD];
    uint8_t payload_size;
    
    if (audio_app_encode_fft(&fft_result, payload, &payload_size) == 0) {
        /* Create measurement result */
        MEASUREMENT_RESULT_s result = {
            .type = AUDIO_ADC,
            .source = INTERNAL_SOURCE,
            .result.fft = {
                .size = AUDIO_FFT_SIZE,
                .frequency = AUDIO_SAMPLE_RATE
            }
        };
        memcpy(result.result.fft.magnitude, fft_result.bands, 
               sizeof(fft_result.bands));

        /* Send to callback */
        if (audio_state.callback) {
            audio_state.callback(&result);
        }
    }
}

static void audio_process_handler(struct k_work *work)
{
    process_audio_data();
}

static void audio_stop_handler(struct k_work *work)
{
    audio_app_start(false, INTERNAL_SOURCE);
}

/* API Implementation */
int audio_app_init(measurement_callback_t callback)
{
    /* Initialize work queue */
    k_work_queue_init(&audio_work_q);
    k_work_queue_start(&audio_work_q, audio_stack,
                      K_THREAD_STACK_SIZEOF(audio_stack),
                      K_PRIO_PREEMPT(10), NULL);

    /* Initialize work items */
    k_work_init(&process_work, audio_process_handler);
    k_work_init_delayable(&audio_state.stop_work, audio_stop_handler);

    /* Initialize FFT */
    arm_cfft_init_f32(&fft_instance, AUDIO_FFT_SIZE);

    /* Create Hanning window */
    for (int i = 0; i < AUDIO_FFT_SIZE; i++) {
        window_buffer[i] = 0.5f * (1.0f - cosf(2.0f * PI * i / (AUDIO_FFT_SIZE - 1)));
    }

    /* Store callback */
    audio_state.callback = callback;

    /* Get I2S device */
    audio_state.i2s_dev = DEVICE_DT_GET(DT_ALIAS(audio_in));
    if (!device_is_ready(audio_state.i2s_dev)) {
        LOG_ERR("I2S device not ready");
        return -ENODEV;
    }

    /* Set default configuration */
    audio_state.config.duration = 60;
    audio_state.config.interval = 3600;
    audio_state.config.gain = 128;
    audio_state.config.agc_enabled = true;

    return 0;
}

int audio_app_encode_fft(const fft_result_t *result, uint8_t *payload, uint8_t *size)
{
    if (!result || !payload || !size) {
        return -EINVAL;
    }

    /* Check maximum payload size */
    if (FFT_HEADER_SIZE + (FFT_BAND_COUNT * FFT_BYTES_PER_BAND) > LORAWAN_MAX_PAYLOAD) {
        return -ENOSPC;
    }

    /* Encode header */
    payload[0] = (result->timestamp >> 24) & 0xFF;
    payload[1] = (result->timestamp >> 16) & 0xFF;
    payload[2] = (result->timestamp >> 8) & 0xFF;
    payload[3] = result->timestamp & 0xFF;
    payload[4] = result->config;

    /* Encode band magnitudes */
    for (int i = 0; i < FFT_BAND_COUNT; i++) {
        payload[FFT_HEADER_SIZE + (i * 2)] = (result->bands[i] >> 8) & 0xFF;
        payload[FFT_HEADER_SIZE + (i * 2) + 1] = result->bands[i] & 0xFF;
    }

    *size = FFT_HEADER_SIZE + (FFT_BAND_COUNT * FFT_BYTES_PER_BAND);
    return 0;
}

int audio_app_decode_fft(const uint8_t *payload, uint8_t size, fft_result_t *result)
{
    if (!payload || !result || size < FFT_HEADER_SIZE) {
        return -EINVAL;
    }

    /* Decode header */
    result->timestamp = ((uint32_t)payload[0] << 24) |
                       ((uint32_t)payload[1] << 16) |
                       ((uint32_t)payload[2] << 8) |
                       payload[3];
    result->config = payload[4];

    /* Decode band magnitudes */
    int band_count = (size - FFT_HEADER_SIZE) / FFT_BYTES_PER_BAND;
    if (band_count > FFT_BAND_COUNT) {
        band_count = FFT_BAND_COUNT;
    }

    for (int i = 0; i < band_count; i++) {
        result->bands[i] = ((uint16_t)payload[FFT_HEADER_SIZE + (i * 2)] << 8) |
                          payload[FFT_HEADER_SIZE + (i * 2) + 1];
    }

    return 0;
}

int audio_app_config(const audio_config_t *config)
{
    if (!config) {
        return -EINVAL;
    }

    /* Validate configuration */
    if (config->duration > AUDIO_MAX_DURATION) {
        return -EINVAL;
    }

    memcpy(&audio_state.config, config, sizeof(audio_config_t));
    return 0;
}

int audio_app_get_config(audio_config_t *config)
{
    if (!config) {
        return -EINVAL;
    }

    memcpy(config, &audio_state.config, sizeof(audio_config_t));
    return 0;
}

bool audio_app_busy(void)
{
    return audio_state.busy;
}

int audio_app_start(bool start, MEASUREMENT_SOURCE_e source)
{
    if (start && !audio_state.busy) {
        /* Configure I2S */
        struct i2s_config i2s_cfg = {
            .word_size = AUDIO_BITS_PER_SAMPLE,
            .channels = 1,
            .format = I2S_FMT_DATA_FORMAT_I2S,
            .options = I2S_OPT_BIT_CLK_MASTER | I2S_OPT_FRAME_CLK_MASTER,
            .frame_clk_freq = AUDIO_SAMPLE_RATE,
            .mem_slab = NULL,
            .block_size = AUDIO_FRAME_SIZE * sizeof(int16_t),
            .timeout = K_MSEC(200)
        };
        
        int ret = i2s_configure(audio_state.i2s_dev, I2S_DIR_RX, &i2s_cfg);
        if (ret < 0) {
            return ret;
        }

        /* Start I2S */
        ret = i2s_trigger(audio_state.i2s_dev, I2S_DIR_RX, I2S_TRIGGER_START);
        if (ret < 0) {
            return ret;
        }

        audio_state.busy = true;
        audio_state.samples_collected = 0;

        /* Schedule stop after configured duration */
        k_work_schedule(&audio_state.stop_work, 
                       K_SECONDS(audio_state.config.duration));

    } else if (!start && audio_state.busy) {
        /* Stop I2S */
        i2s_trigger(audio_state.i2s_dev, I2S_DIR_RX, I2S_TRIGGER_STOP);
        audio_state.busy = false;
        k_work_cancel_delayable(&audio_state.stop_work);
    }

    return 0;
}
```
